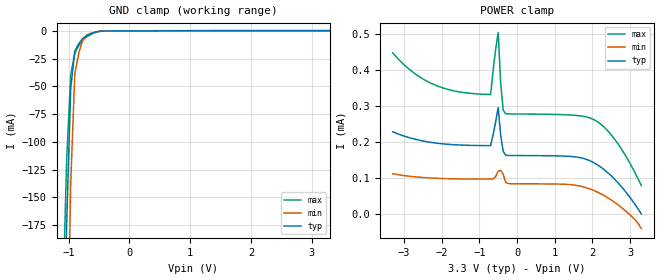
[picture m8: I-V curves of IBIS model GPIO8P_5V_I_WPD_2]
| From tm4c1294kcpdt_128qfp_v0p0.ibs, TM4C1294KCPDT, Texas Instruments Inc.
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|   Model Cell GPIO8P_5V_I_WPD_2
[Model]   GPIO8P_5V_I_WPD_2
Model_type   Input
Polarity   Non-Inverting
Vinl =  0.8
Vinh =  2
C_comp   7.738177p   6.063161p   9.392973p
[Model Spec]
Vinl   0.8   0.8   0.8
Vinh   2   2   2
[Temperature Range]   25   125   -40
[Voltage Range]   3.3   2.97   3.63
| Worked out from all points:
|   GND clamp passes 1 mA (typ) near -0.55 V on its own axis
| Nom Voltages:
|   VDDC=1.2, VDD=3.3, GND=0
| Min Voltages:
|   VDDC=1.08, VDD=2.97, GND=0
| Max Voltages:
|   VDDC=1.32, VDD=3.63, GND=0
[POWER_clamp]
|   voltage   I(typ)   I(min)   I(max)
-3.3V     228.1uA    111.4uA    447.3uA
-2.767V   209.1uA    103.7uA    393.9uA
-2.167V   197uA      99.07uA    357.6uA
-700mV    189.6uA    96.73uA    331.6uA
-500mV    295.6uA    118.9uA    504.2uA
-433.3mV  218.1uA    121.1uA    363.2uA
-366.7mV  173.9uA    110.4uA    287.8uA
-300mV    162.9uA    86.89uA    278.1uA
1.5V      158.9uA    80.38uA    274.2uA
2.1V      138.6uA    62.26uA    258.5uA
2.7V      84.22uA    23.72uA    191.6uA
3.3V      -134.1pA   -40.99uA   78.8uA
[GND_clamp]
|   voltage   I(typ)   I(min)   I(max)
-3.3V     -16.36A    -15.34A    -17.18A
-1.1V     -382.1mA   -633.4mA   -250.1mA
-1.033V   -173.3mA   -336.5mA   -116.4mA
-966.7mV  -52.02mA   -138.4mA   -39.8mA
-900mV    -18.2mA    -38.98mA   -20.33mA
-833.3mV  -11.36mA   -19.82mA   -13.17mA
-766.7mV  -6.626mA   -8.055mA   -8.158mA
-700mV    -4.013mA   -3.686mA   -5.306mA
-500mV    -405.1uA   -429.6uA   -494.1uA
-366.7mV  -78.5uA    -69.47uA   -110.5uA
3.3V      162.1uA    90.74uA    277.3uA
